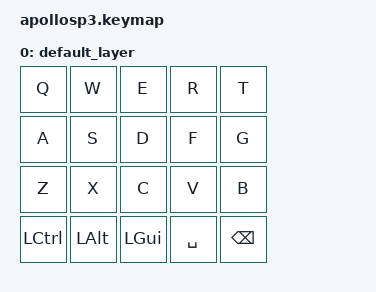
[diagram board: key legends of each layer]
#include <behaviors.dtsi>
#include <dt-bindings/zmk/keys.h>
#include <dt-bindings/zmk/bt.h>

/ {
    keymap {
        compatible = "zmk,keymap";
        default_layer {
            bindings = <
                &kp Q     &kp W    &kp E    &kp R     &kp T
                &kp A     &kp S    &kp D    &kp F     &kp G
                &kp Z     &kp X    &kp C    &kp V     &kp B
                &kp LCTRL &kp LALT &kp LGUI &kp SPACE &kp BSPC
            >;
        };
    };
};
